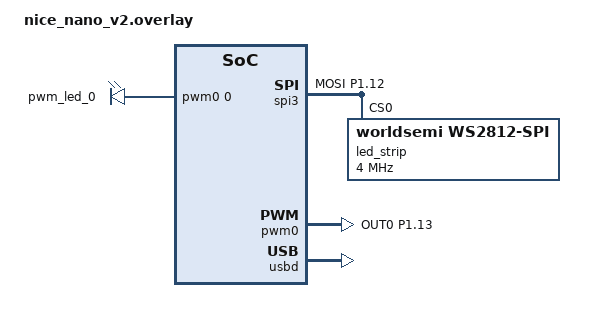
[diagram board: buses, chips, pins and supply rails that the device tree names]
#include <dt-bindings/led/led.h>

&pinctrl {
    spi3_default: spi3_default {
        group1 {
            psels = <NRF_PSEL(SPIM_MOSI, 1, 12)>; // WS2812_VEXT_DATA
        };
    };

    spi3_sleep: spi3_sleep {
        group1 {
            psels = <NRF_PSEL(SPIM_MOSI, 1, 12)>;
            low-power-enable;
        };
    };

    pwm0_default: pwm0_default {
        group1 {
            psels = <NRF_PSEL(PWM_OUT0, 1, 13)>;
        };
    };
    pwm0_sleep: pwm0_sleep {
        group1 {
            psels = <NRF_PSEL(PWM_OUT0, 1, 13)>;
            low-power-enable;
        };
    };
};

&spi3 {
    compatible = "nordic,nrf-spim";
    status = "okay";

    pinctrl-0 = <&spi3_default>;
    pinctrl-1 = <&spi3_sleep>;
    pinctrl-names = "default", "sleep";

    led_strip: ws2812@0 {
        compatible = "worldsemi,ws2812-spi";

        /* SPI */
        reg = <0>; /* ignored, but necessary for SPI bindings */
        spi-max-frequency = <4000000>;

        /* WS2812 */
        chain-length = <36>; /* 6 keys have underglow at the moment */
        spi-one-frame = <0x70>;
        spi-zero-frame = <0x40>;

        color-mapping = <LED_COLOR_ID_GREEN LED_COLOR_ID_RED LED_COLOR_ID_BLUE>;
    };
};

&pwm0 {
    status = "okay";
    pinctrl-0 = <&pwm0_default>;
    pinctrl-1 = <&pwm0_sleep>;
    pinctrl-names = "default", "sleep";
};

nice_view_spi: &spi0 {
    compatible = "nordic,nrf-spim";
    pinctrl-0 = <&spi0_default>;
    pinctrl-1 = <&spi0_sleep>;
    pinctrl-names = "default", "sleep";
    cs-gpios = <&gpio0 6 GPIO_ACTIVE_HIGH>;
};

&usbd {
    status = "okay";
    cdc_acm_uart: cdc_acm_uart {
        compatible = "zephyr,cdc-acm-uart";
    };
};

zephyr_udc0: &usbd {
    compatible = "nordic,nrf-usbd";
    status = "okay";
};

/ {
    chosen {
        zmk,underglow = &led_strip;
        zmk,backlight = &backlight;
    };

    backlight: pwmleds {
        compatible = "pwm-leds";
        pwm_led_0 {
            pwms = <&pwm0 0 PWM_MSEC(1) PWM_POLARITY_NORMAL>;
        };
    };
};
